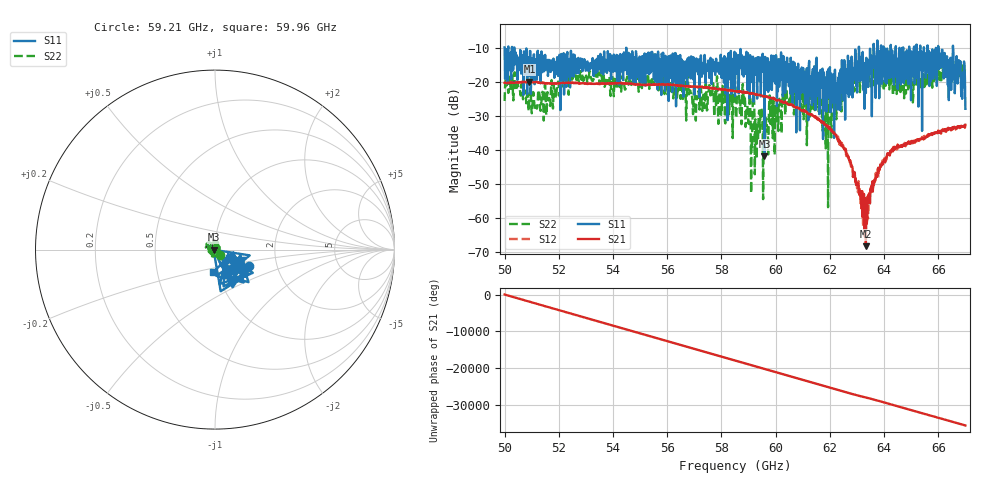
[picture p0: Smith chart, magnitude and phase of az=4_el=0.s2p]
!Created with skrf (http://scikit-rf.org).
# GHz S RI R 50.0
!freq ReS11 ImS11 ReS21 ImS21 ReS12 ImS12 ReS22 ImS22
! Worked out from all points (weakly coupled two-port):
!   1001 points, 50 GHz to 67 GHz, reference 50 ohm
!   highest |S21| = -19.85 dB at 50.92 GHz (marker M1); lowest = -68.3 dB at 63.33 GHz (marker M2)
!   lowest |S11| = -41.9 dB at 59.59 GHz (marker M3), VSWR 1.02, Z = 49.2 - j0.0948 ohm
!   |S11| at or under -10 dB: 50.36 GHz to 54.49 GHz (4.13 GHz wide, 7.88 % of centre); 54.49 GHz to 63.07 GHz (8.583 GHz wide, 14.6 % of centre); 63.08 GHz to 63.61 GHz (538.2 MHz wide, 0.85 % of centre) (the widest 3 of 24)
!   |S22| runs from -56.8 to -14.2 dB; largest |S21 - S12| = 0.0032
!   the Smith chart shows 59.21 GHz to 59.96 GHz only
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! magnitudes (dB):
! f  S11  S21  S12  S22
! 50 GHz  -9.8  -20.3  -20.3  -25.6
! 50.42 GHz  -13.4  -20.2  -20.1  -22.6
! 50.92 GHz  -18.1  -19.8  -19.9  -23.9
! 52.84 GHz  -14.4  -20.4  -20.4  -19.4
! 55.68 GHz  -13.3  -20.7  -20.8  -22.5
! 57 GHz  -23.7  -21.3  -21.3  -21.4
! 57.62 GHz  -16.1  -21.8  -21.8  -22.4
! 58.5 GHz  -24.1  -22.7  -22.7  -24.3
! 59.59 GHz  -41.9  -24.2  -24.0  -29.5
! 59.84 GHz  -12.1  -24.7  -24.7  -25.2
! 60.64 GHz  -14.0  -26.7  -26.9  -22.1
! 61.34 GHz  -26.9  -29.6  -29.8  -25.3
! 62 GHz  -15.6  -33.4  -33.4  -24.8
! 62.53 GHz  -13.6  -39.8  -39.6  -19.0
! 63.12 GHz  -12.6  -52.0  -52.8  -20.0
! 63.33 GHz  -23.2  -68.3  -55.1  -19.2
! 63.69 GHz  -24.7  -48.7  -47.0  -16.3
! 64.18 GHz  -18.8  -41.0  -41.1  -18.6
! 66.08 GHz  -15.2  -34.6  -34.4  -15.5
! 66.42 GHz  -15.3  -33.6  -33.8  -16.3
! 66.75 GHz  -17.6  -33.0  -33.2  -18.1
! 67 GHz  -27.9  -32.6  -33.0  -15.6
